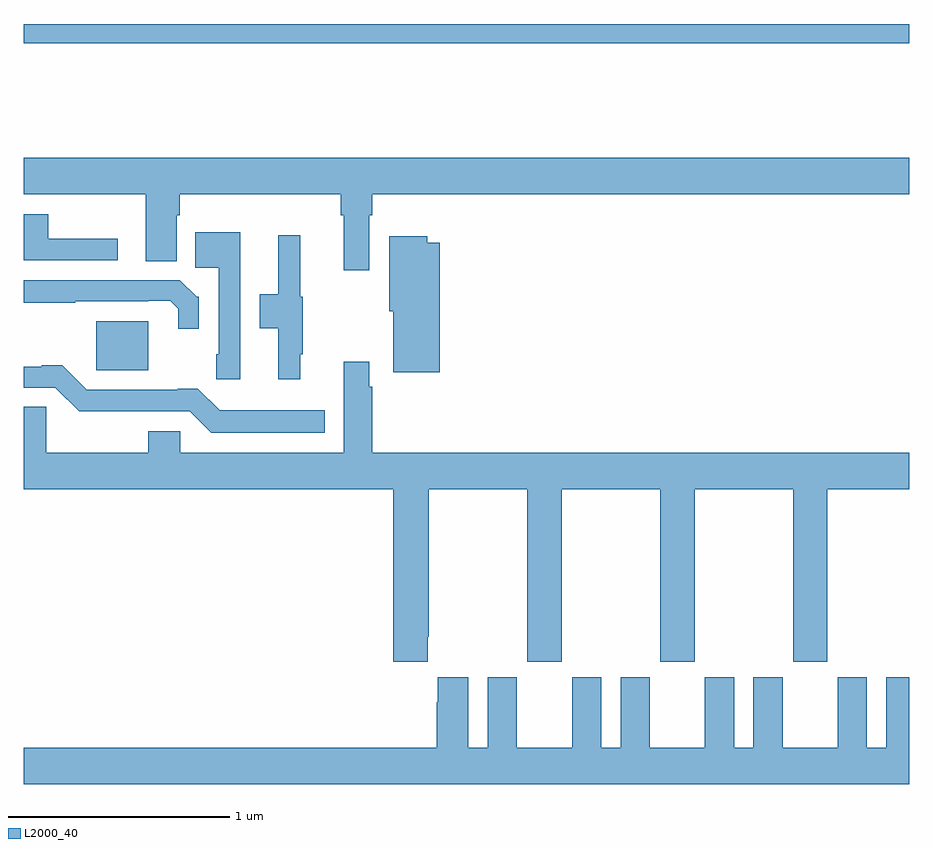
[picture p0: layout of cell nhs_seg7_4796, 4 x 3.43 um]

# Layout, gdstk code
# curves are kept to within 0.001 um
import gdstk
lib = gdstk.Library(unit=1e-6, precision=1e-09)
def R(c, l, rs):  # rectangles x0, y0, x1, y1
    for r in rs: c.add(gdstk.rectangle(r[:2], r[2:], *l))
def P(c, l, *ps):  # polygons
    for p in ps: c.add(gdstk.Polygon(p, *l))
L2000_40 = (2000, 40)

nhs_seg7_4796 = lib.new_cell('nhs_seg7_4796')
R(nhs_seg7_4796, L2000_40, [(411.329,1050.437,411.562,1050.658), (411,1051.912,415,1052)])
P(nhs_seg7_4796, L2000_40, [(411,1051.232),(411.551,1051.232),(411.551,1050.928),(411.691,1050.928),(411.691,1051.136),(411.704,1051.136),(411.704,1051.232),(412.433,1051.232),(412.433,1051.136),(412.445,1051.136),(412.445,1050.888),(412.561,1050.888),(412.561,1051.136),(412.574,1051.136),(412.574,1051.232),(415,1051.232),(415,1051.396),(411,1051.396)],
  [(411.424,1051.031),(411.111,1051.031),(411.111,1051.14),(411,1051.14),(411,1050.933),(411.424,1050.933)],
  [(411.978,1051.06),(411.776,1051.06),(411.776,1050.9),(411.882,1050.9),(411.882,1050.508),(411.87,1050.508),(411.87,1050.396),(411.978,1050.396)],
  [(412.25,1050.508),(412.261,1050.508),(412.261,1050.768),(412.25,1050.768),(412.25,1051.045),(412.151,1051.045),(412.151,1050.78),(412.067,1050.78),(412.067,1050.625),(412.151,1050.625),(412.151,1050.396),(412.25,1050.396)],
  [(412.879,1051.012),(412.823,1051.012),(412.823,1051.042),(412.652,1051.042),(412.652,1050.702),(412.67,1050.702),(412.67,1050.428),(412.879,1050.428)],
  [(411.792,1050.768),(411.781,1050.768),(411.706,1050.843),(411,1050.843),(411,1050.742),(411.233,1050.742),(411.233,1050.747),(411.563,1050.747),(411.563,1050.75),(411.662,1050.75),(411.698,1050.714),(411.698,1050.624),(411.792,1050.624)],
  [(412.825,1049.233),(412.83,1049.233),(412.83,1049.9),(413.275,1049.9),(413.275,1049.121),(413.43,1049.121),(413.43,1049.9),(413.875,1049.9),(413.875,1049.121),(414.03,1049.121),(414.03,1049.9),(414.475,1049.9),(414.475,1049.121),(414.63,1049.121),(414.63,1049.9),(415,1049.9),(415,1050.064),(412.574,1050.064),(412.574,1050.362),(412.561,1050.362),(412.561,1050.475),(412.445,1050.475),(412.445,1050.064),(411.708,1050.064),(411.708,1050.162),(411.562,1050.162),(411.562,1050.064),(411.102,1050.064),(411.102,1050.272),(411,1050.272),(411,1049.9),(412.67,1049.9),(412.67,1049.121),(412.825,1049.121)],
  [(412.36,1050.256),(411.885,1050.255),(411.787,1050.353),(411.695,1050.353),(411.695,1050.348),(411.285,1050.348),(411.175,1050.458),(411.083,1050.458),(411.083,1050.453),(411,1050.453),(411,1050.357),(411.144,1050.357),(411.251,1050.251),(411.75,1050.252),(411.847,1050.155),(412.36,1050.155)],
  [(415,1049.05),(414.896,1049.05),(414.896,1048.732),(414.808,1048.732),(414.808,1049.05),(414.677,1049.05),(414.677,1048.732),(414.427,1048.732),(414.427,1049.05),(414.296,1049.05),(414.296,1048.732),(414.208,1048.732),(414.208,1049.05),(414.077,1049.05),(414.077,1048.732),(413.827,1048.732),(413.827,1049.05),(413.696,1049.05),(413.696,1048.732),(413.608,1048.732),(413.608,1049.05),(413.477,1049.05),(413.477,1048.732),(413.227,1048.732),(413.227,1049.05),(413.096,1049.05),(413.096,1048.732),(413.008,1048.732),(413.008,1049.05),(412.871,1049.05),(412.871,1048.937),(412.865,1048.937),(412.865,1048.732),(411,1048.732),(411,1048.568),(415,1048.568)])

lib.write_gds('nhs_seg7_4796.gds')
